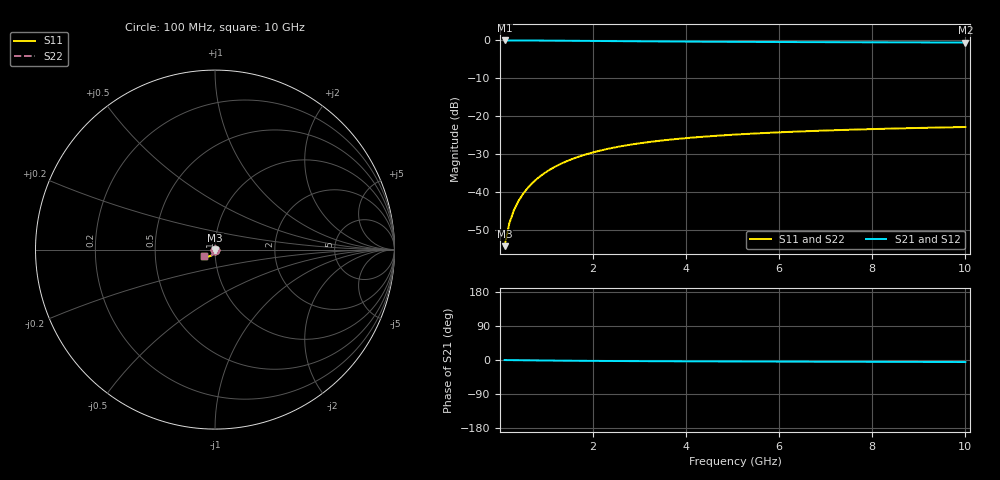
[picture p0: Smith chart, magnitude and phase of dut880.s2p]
! Touchstone file exported from HFSS 2024.1.0
!  File:  C:/UserFiles/LocalFiles/RDL_TSV_Batchsim/temp_TSV1_880_1779883622.aedt
!  Generated:  08:12:14 PM May 27, 2026
!  Design:  TSV1
!  Project:  temp_TSV1_880_1779883622
!  Setup:  Setup1
!  Solution:  Sweep
! Variables:
!  dtsv = 14.95um
!  hbump = 3um
!  htsv = 77.26um
!  lrdl = 252.1521522um
!  p = 40
!  p1 = 43.4um
!  t = 500um
!  trdl = 3um
!  wrdl = 24.89489489um
# GHz S MA R 50.000000
! Terminal data exported
! Port[1] = TSV22_T1
! Port[2] = TSV22_T2
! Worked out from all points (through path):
!   100 points, 100 MHz to 10 GHz, reference 50 ohm
!   highest |S21| = 0.00 dB at 100 MHz (marker M1); lowest = -0.5 dB at 10 GHz (marker M2)
!   lowest |S11| = -54.4 dB at 100 MHz (marker M3), VSWR 1.00, Z = 50 - j0.191 ohm
!   |S11| at or under -10 dB: start of sweep to end of sweep
!   |S22| runs from -54.4 to -22.9 dB; largest |S21 - S12| = 2.1e-15
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0.1  0.001908 -89.0  0.9999 -0.1  0.9999 -0.1  0.001908 -89.0
! Gamma 0 0 0 0
! Port Impedance 50 0 50 0
0.2  0.003809 -91.9  0.9997 -0.3  0.9997 -0.3  0.003809 -91.9
0.3  0.005702 -93.8  0.9994 -0.4  0.9994 -0.4  0.005702 -93.8
0.4  0.007583 -95.6  0.9991 -0.6  0.9991 -0.6  0.007583 -95.6
0.5  0.009447 -97.2  0.9986 -0.7  0.9986 -0.7  0.009447 -97.2
0.6  0.01129 -98.8  0.9981 -0.8  0.9981 -0.8  0.01129 -98.8
0.7  0.0131 -100.3  0.9975 -1.0  0.9975 -1.0  0.0131 -100.3
0.8  0.01489 -101.8  0.9968 -1.1  0.9968 -1.1  0.01489 -101.8
0.9  0.01664 -103.2  0.996 -1.2  0.996 -1.2  0.01664 -103.2
1.1  0.02003 -106.0  0.9943 -1.5  0.9943 -1.5  0.02003 -106.0
1.4  0.02481 -109.9  0.9913 -1.8  0.9913 -1.8  0.02481 -109.9
1.6  0.02776 -112.4  0.9893 -2.0  0.9893 -2.0  0.02776 -112.4
1.8  0.03054 -114.7  0.9871 -2.2  0.9871 -2.2  0.03054 -114.7
2.1  0.03436 -117.9  0.9839 -2.4  0.9839 -2.4  0.03436 -117.9
2.5  0.03887 -121.7  0.9797 -2.7  0.9797 -2.7  0.03887 -121.7
2.9  0.04278 -125.0  0.9757 -2.9  0.9757 -2.9  0.04278 -125.0
3.4  0.04697 -128.6  0.9711 -3.2  0.9711 -3.2  0.04697 -128.6
4.2  0.05239 -133.3  0.9647 -3.6  0.9647 -3.6  0.05239 -133.3
5.1  0.05718 -137.3  0.9586 -3.9  0.9586 -3.9  0.05718 -137.3
6.7  0.06351 -142.5  0.9503 -4.4  0.9503 -4.4  0.06351 -142.5
8.4  0.06834 -146.3  0.9439 -4.9  0.9439 -4.9  0.06834 -146.3
10  0.07173 -149.1  0.9395 -5.3  0.9395 -5.3  0.07173 -149.1
